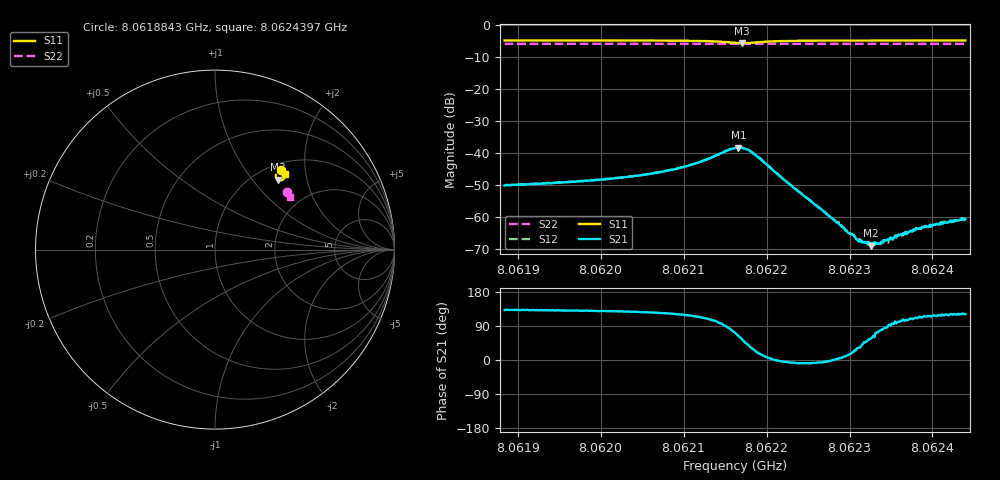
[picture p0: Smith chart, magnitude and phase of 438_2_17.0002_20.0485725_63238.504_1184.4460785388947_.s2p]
#  HZ  S  RI  R  50.00
! Rohde & Schwarz Vector Network Analyzer
! Rohde-Schwarz,ZNB20-2Port,1311601062101988,3.16
! Created: UTC 3/20/2024, 11:11:44 PM
! freq[Hz]  re:S11  im:S11  re:S21  im:S21  re:S12  im:S12  re:S22  im:S22
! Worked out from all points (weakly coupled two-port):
!   401 points, 8.0618843 GHz to 8.0624397 GHz, reference 50 ohm
!   highest |S21| = -38.22 dB at 8.0621661 GHz (marker M1); lowest = -68.8 dB at 8.0623258 GHz (marker M2)
!   lowest |S11| = -5.6 dB at 8.0621703 GHz (marker M3), VSWR 3.20, Z = 63 + j67.7 ohm
!   |S11| at or under -10 dB: nowhere
!   |S22| runs from -5.9 to -5.8 dB; largest |S21 - S12| = 0.00089
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8.06188427e9  0.3697 0.442  -0.00209 0.00235  -0.00202 0.00246  0.3997 0.3182
8.0619773e9  0.3763 0.4357  -0.00237 0.00279  -0.00221 0.003  0.4032 0.3136
8.06202867e9  0.3806 0.4311  -0.00262 0.00336  -0.0024 0.00348  0.4051 0.3108
8.06207033e9  0.3844 0.4257  -0.00284 0.00416  -0.00261 0.00434  0.4066 0.3086
8.06211059e9  0.3882 0.4159  -0.00298 0.006  -0.00265 0.00618  0.4081 0.3062
8.06216197e9  0.3637 0.3854  0.00375 0.0115  0.00447 0.0112  0.4083 0.3028
8.06216613e9  0.3561 0.3865  0.00553 0.011  0.00613 0.0107  0.4081 0.3027
8.0621703e9  0.349 0.39  0.00698 0.0101  0.0077 0.00953  0.408 0.3029
8.06217724e9  0.3408 0.4004  0.00854 0.00746  0.00922 0.00689  0.408 0.3031
8.06218696e9  0.3392 0.4164  0.00862 0.00364  0.00892 0.00315  0.4085 0.3033
8.06222445e9  0.3618 0.4354  0.00354 -0.000334  0.00355 -0.000554  0.411 0.302
8.062255e9  0.3717 0.4345  0.00171 -0.000234  0.00169 -0.000303  0.4124 0.3005
8.06229804e9  0.3793 0.4314  0.000558 0.000133  0.000604 8.25e-05  0.4141 0.298
8.06231053e9  0.381 0.4306  0.00036 0.000227  0.000422 0.000221  0.4145 0.2975
8.06232581e9  0.3827 0.4295  0.000197 0.000304  0.000196 0.000296  0.4152 0.2966
8.0623383e9  0.3839 0.4287  7.24e-05 0.000412  9.22e-05 0.000387  0.4157 0.2959
8.06234802e9  0.3848 0.4281  -2.87e-05 0.00045  -7.4e-06 0.000454  0.4161 0.2955
8.06235774e9  0.3856 0.4274  -9.07e-05 0.00051  -6.27e-05 0.000508  0.4162 0.2949
8.06238968e9  0.3884 0.4254  -0.000307 0.000636  -0.000226 0.000656  0.4175 0.2933
8.06241467e9  0.3903 0.4239  -0.0004 0.000722  -0.000399 0.000762  0.4184 0.2919
8.06242161e9  0.3908 0.4236  -0.000464 0.00077  -0.000376 0.000763  0.4184 0.2916
8.06243966e9  0.3921 0.4225  -0.000487 0.000801  -0.00042 0.000857  0.4193 0.2907
